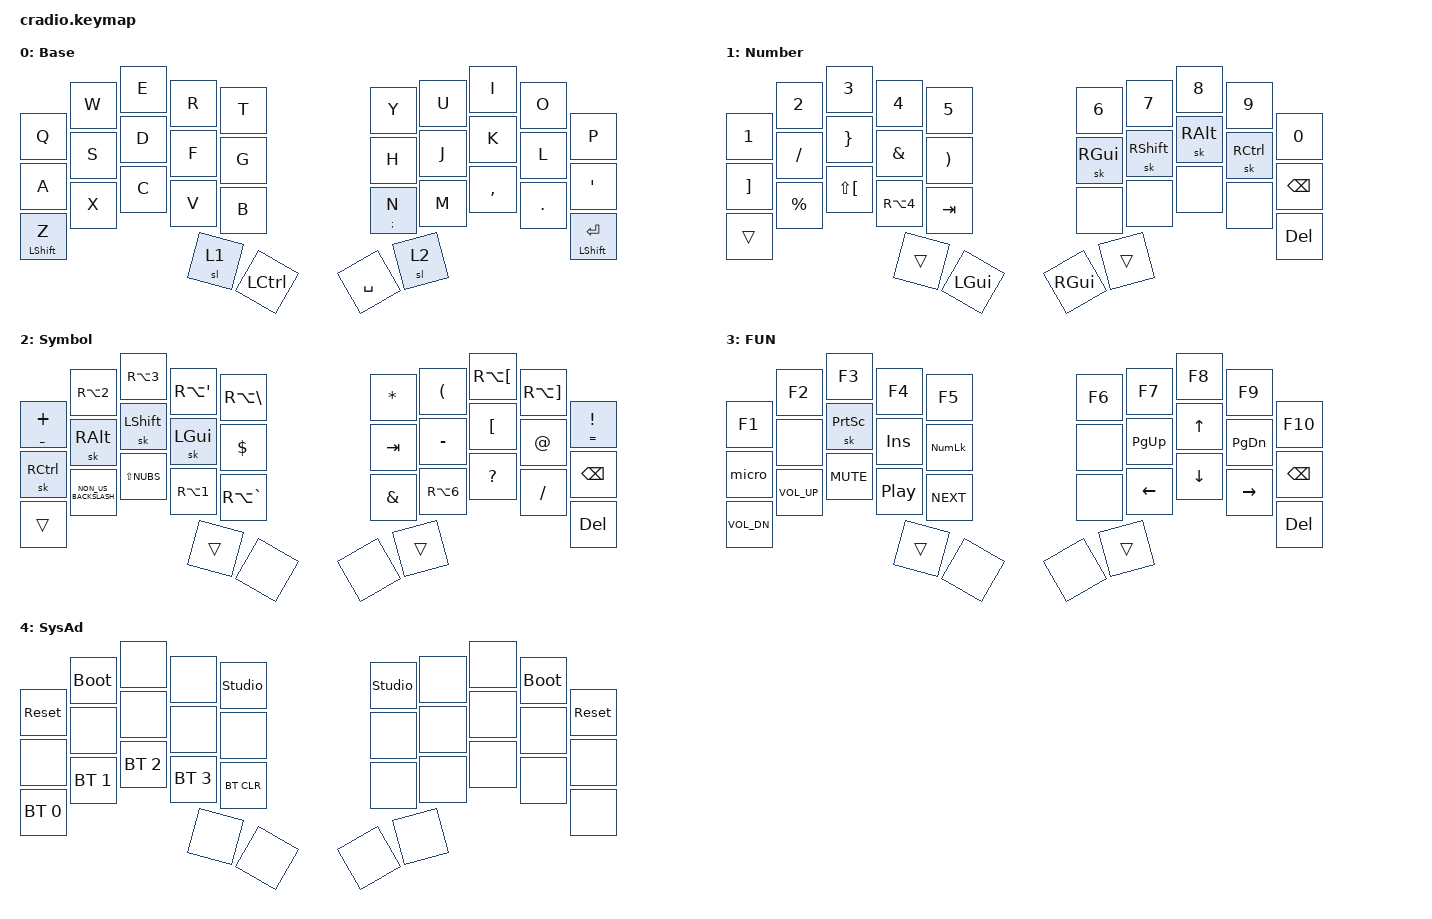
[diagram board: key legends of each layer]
/*
 * Copyright (c) 2020 The ZMK Contributors
 *
 * SPDX-License-Identifier: MIT
 */

#include <behaviors.dtsi>
#include <dt-bindings/zmk/bt.h>
#include <dt-bindings/zmk/keys.h>

&mt {
    //  flavor = "tap-preferred";
    // tapping_term_ms = <200>;
};

/ {
    combos {
        compatible = "zmk,combos";

        Esc {
            timeout-ms = <70>;
            key-positions = <0 1>;
            bindings = <&kp ESC>;
        };

        combo_tab {
            timeout-ms = <70>;
            key-positions = <10 11>;
            bindings = <&kp TAB>;
        };

        Back {
            bindings = <&kp BACKSPACE>;
            key-positions = <9 8>;
            timeout-ms = <70>;
        };

        SysAd {
            bindings = <&sl 4>;
            key-positions = <30 33>;
            timeout-ms = <150>;
        };

        Fun_L {
            bindings = <&sl 3>;
            key-positions = <31 30>;
            timeout-ms = <150>;
        };

        Fun_R {
            bindings = <&sl 3>;
            key-positions = <33 32>;
            timeout-ms = <150>;
        };
    };

    behaviors {
        Excl_mod: Excl_mod {
            compatible = "zmk,behavior-mod-morph";
            label = "EXCL_MOD";
            bindings = <&kp EXCL>, <&kp PLUS>;

            #binding-cells = <0>;
            mods = <(MOD_LSFT|MOD_RSFT)>;
        };

        Qmark_mod: Qmark_mod {
            compatible = "zmk,behavior-mod-morph";
            label = "QMARK_MOD";
            bindings = <&kp UNDER>, <&kp PLUS>;

            #binding-cells = <0>;
            mods = <(MOD_LSFT|MOD_RSFT)>;
            keep-mods = <(MOD_LSFT|MOD_RSFT)>;
        };

        gqt: gqt {
            compatible = "zmk,behavior-hold-tap";
            label = "GQT";
            bindings = <&kp>, <&kp>;

            #binding-cells = <2>;
            flavor = "tap-preferred";
            tapping-term-ms = <180>;
            quick-tap-ms = <125>;
        };
    };

    macros {
        micro: micro {
            compatible = "zmk,behavior-macro";
            label = "MICRO";
            #binding-cells = <0>;
            bindings =
                <&macro_press>,
                <&kp LEFT_ALT>,
                <&macro_tap>,
                <&kp KP_N2 &kp KP_N2 &kp KP_N0 &kp KP_N6>,
                <&macro_release>,
                <&kp LEFT_ALT &kp X>;

            wait-ms = <40>;
            tap-ms = <40>;
        };
    };


    keymap {
        compatible = "zmk,keymap";

        Base {
            bindings = <
&kp Q         &kp W  &kp E  &kp R  &kp T        &kp Y        &kp U  &kp I      &kp O    &kp P
&kp A         &kp S  &kp D  &kp F  &kp G        &kp H        &kp J  &kp K      &kp L    &kp SQT
&mt LSHIFT Z  &kp X  &kp C  &kp V  &kp B        &gqt SEMI N  &kp M  &kp COMMA  &kp DOT  &mt LSHIFT RET
                            &sl 1  &kp LCTRL    &kp SPACE    &sl 2
            >;
        };

        Number {
            bindings = <
&kp N1             &kp N2       &kp N3                &kp N4            &kp N5                   &kp N6    &kp N7           &kp N8    &kp N9             &kp N0
&kp RIGHT_BRACKET  &kp SLASH    &kp RIGHT_BRACE       &kp AMPERSAND     &kp RIGHT_PARENTHESIS    &sk RGUI  &sk RIGHT_SHIFT  &sk RALT  &sk RIGHT_CONTROL  &kp BACKSPACE
&trans             &kp PERCENT  &kp LS(LEFT_BRACKET)  &kp RA(NUMBER_4)  &kp TAB                  &none     &none            &none     &none              &kp DEL
                                                      &trans            &kp LGUI                 &kp RGUI  &trans
            >;
        };

        Symbol {
            bindings = <
&gqt UNDER PLUS  &kp RA(NUMBER_2)      &kp RA(NUMBER_3)  &kp RA(SINGLE_QUOTE)  &kp RA(BACKSLASH)    &kp ASTRK      &kp LEFT_PARENTHESIS  &kp RA(LEFT_BRACKET)  &kp RA(RIGHT_BRACKET)  &gqt EQUAL EXCLAMATION
&sk RCTRL        &sk RALT              &sk LEFT_SHIFT    &sk LEFT_GUI          &kp DOLLAR           &kp TAB        &kp MINUS             &kp LEFT_BRACKET      &kp AT                 &kp BACKSPACE
&trans           &kp NON_US_BACKSLASH  &kp LS(NUBS)      &kp RA(N1)            &kp RA(GRAVE)        &kp AMPERSAND  &kp RA(NUMBER_6)      &kp QUESTION          &kp SLASH              &kp DEL
                                                         &trans                &none                &none          &trans
            >;
        };

        FUN {
            bindings = <
&kp F1        &kp F2        &kp F3           &kp F4            &kp F5            &kp F6  &kp F7       &kp F8    &kp F9         &kp F10
&micro        &none         &sk PRINTSCREEN  &kp INS           &kp KP_NUMLOCK    &none   &kp PAGE_UP  &kp UP    &kp PAGE_DOWN  &kp BACKSPACE
&kp C_VOL_DN  &kp C_VOL_UP  &kp C_MUTE       &kp C_PLAY_PAUSE  &kp C_NEXT        &none   &kp LEFT     &kp DOWN  &kp RIGHT      &kp DEL
                                             &trans            &none             &none   &trans
            >;
        };

        SysAd {
            bindings = <
&sys_reset    &bootloader   &none         &none         &studio_unlock &studio_unlock  &none  &none  &bootloader   &sys_reset
&none         &none         &none         &none         &none          &none           &none  &none  &none         &none
&bt BT_SEL 0  &bt BT_SEL 1  &bt BT_SEL 2  &bt BT_SEL 3  &bt BT_CLR     &none           &none  &none  &none         &none
                                          &none         &none          &none           &none
            >;
        };
        // ZMK Studio prep
        Reserved1 {status = "reserved";};
        Reserved2 {status = "reserved";};
    };

};
